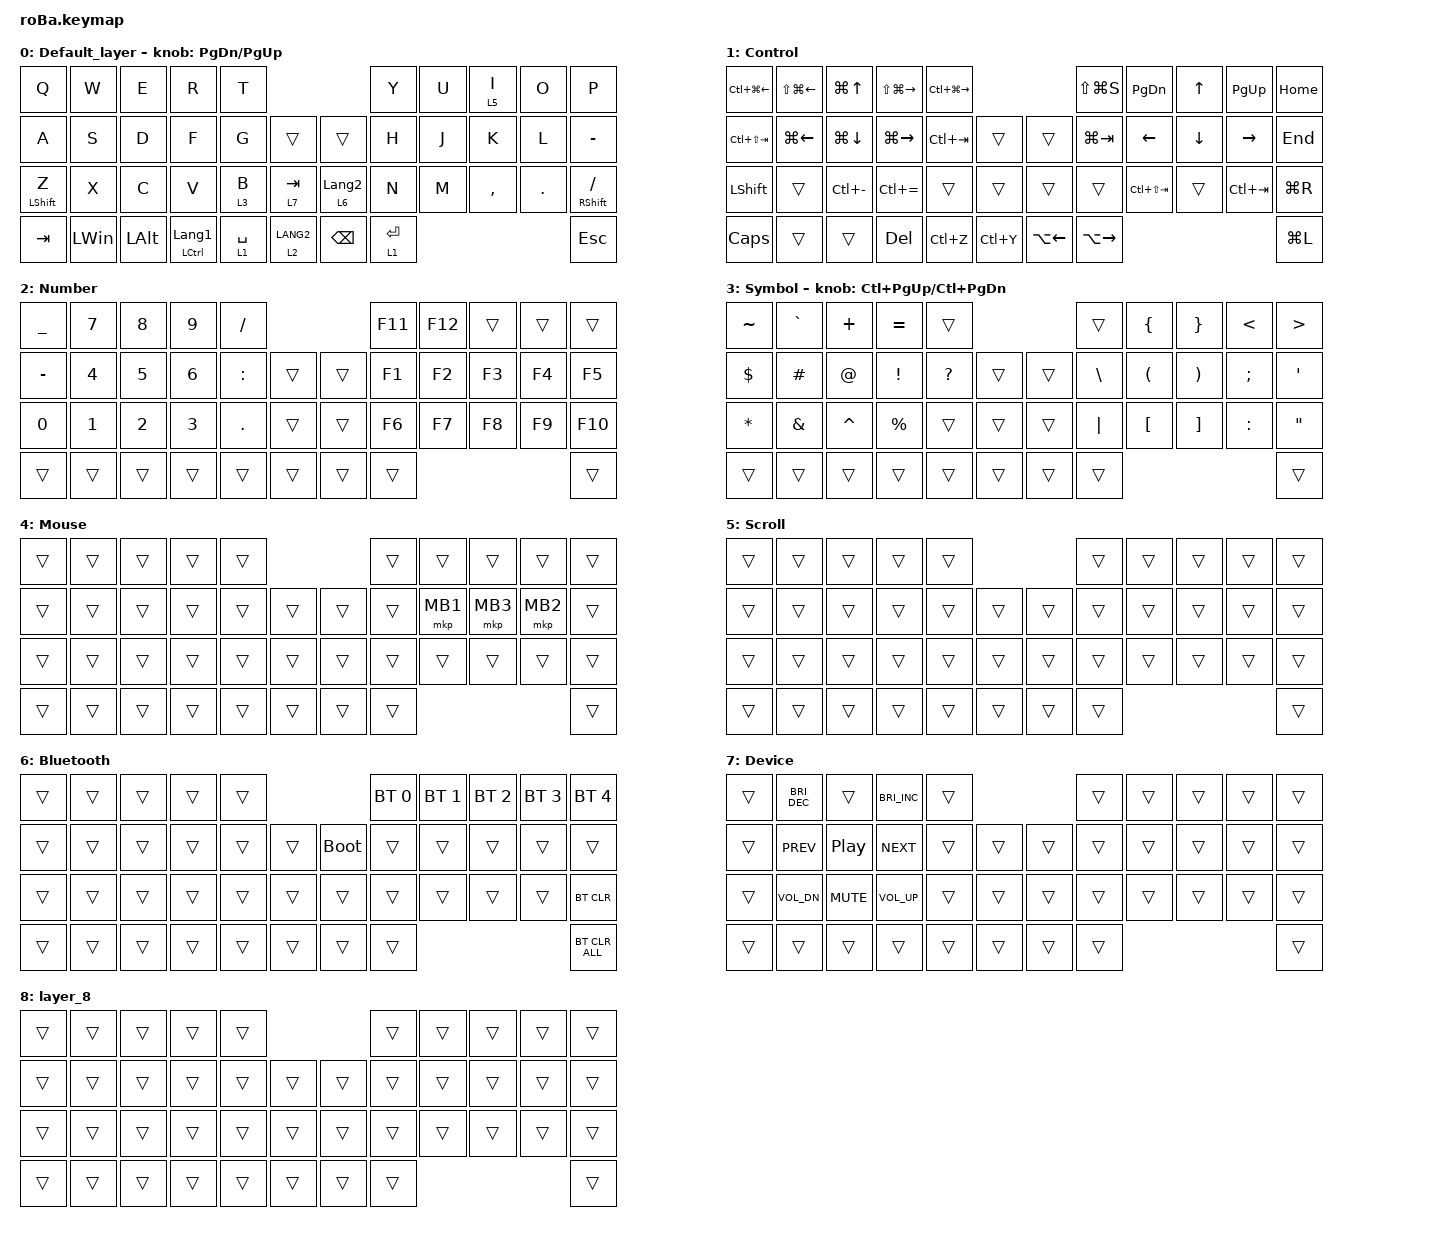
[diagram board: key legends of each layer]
#include <behaviors.dtsi>
#include <dt-bindings/zmk/bt.h>
#include <dt-bindings/zmk/keys.h>
#include <dt-bindings/zmk/pointing.h>

#define MOUSE 4
#define SCROLL 5
#define NUM 6

&mt {
    flavor = "balanced";
    quick-tap-ms = <0>;
};

/ {
    combos {
        compatible = "zmk,combos";

        tab {
            bindings = <&kp TAB>;
            key-positions = <11 12>;
        };

        shift_tab {
            bindings = <&kp LS(TAB)>;
            key-positions = <12 13>;
        };

        muhennkann {
            bindings = <&to_layer_0 INT_MUHENKAN>;
            key-positions = <11 10>;
        };

        double_quotation {
            bindings = <&kp DOUBLE_QUOTES>;
            key-positions = <20 21>;
        };

        eq {
            bindings = <&kp EQUAL>;
            key-positions = <24 25>;
        };
    };

    macros {
        to_layer_0: to_layer_0 {
            compatible = "zmk,behavior-macro-one-param";
            #binding-cells = <1>;
            bindings = <&to 0 &macro_param_1to1 &kp MACRO_PLACEHOLDER>;
            label = "TO_LAYER_0";
        };
    };

    behaviors {
        lt_to_layer_0: lt_to_layer_0 {
            compatible = "zmk,behavior-hold-tap";
            label = "LAYER_TAP_TO_0";
            bindings = <&mo>, <&to_layer_0>;

            #binding-cells = <2>;
            tapping-term-ms = <200>;
        };
    };

    keymap {
        compatible = "zmk,keymap";

        Default_layer {
            bindings = <
&kp Q             &kp W         &kp E         &kp R                 &kp T                                                                 &kp Y                   &kp U  &lt 5 I    &kp O    &kp P
&kp A             &kp S         &kp D         &kp F                 &kp G                   &trans                      &trans            &kp H                   &kp J  &kp K      &kp L    &kp MINUS
&mt LEFT_SHIFT Z  &kp X         &kp C         &kp V                 &lt 3 B                 &lt 7 TAB                   &lt 6 LANGUAGE_2  &kp N                   &kp M  &kp COMMA  &kp DOT  &mt RIGHT_SHIFT SLASH
&kp TAB           &kp LEFT_WIN  &kp LEFT_ALT  &mt LCTRL LANGUAGE_1  &lt_to_layer_0 1 SPACE  &lt_to_layer_0 2 LANG2      &kp BACKSPACE     &lt_to_layer_0 1 ENTER                             &kp ESCAPE
            >;

            sensor-bindings = <&inc_dec_kp PAGE_DOWN PG_UP>;
        };

        Control {
            bindings = <
&kp LC(LG(LEFT_ARROW))  &kp LS(LG(LEFT_ARROW))  &kp LG(UP_ARROW)    &kp LS(LG(RIGHT_ARROW))  &kp LC(LG(RIGHT_ARROW))                                     &kp LS(LG(S))        &kp PAGE_DOWN    &kp UP_ARROW    &kp PAGE_UP      &kp HOME
&kp LC(LS(TAB))         &kp LG(LEFT_ARROW)      &kp LG(DOWN_ARROW)  &kp LG(RIGHT_ARROW)      &kp LC(TAB)              &trans         &trans              &kp LG(TAB)          &kp LEFT_ARROW   &kp DOWN_ARROW  &kp RIGHT_ARROW  &kp END
&kp LEFT_SHIFT          &trans                  &kp LC(MINUS)       &kp LC(EQUAL)            &trans                   &trans         &trans              &trans               &kp LC(LS(TAB))  &trans          &kp LC(TAB)      &kp LG(R)
&kp CAPSLOCK            &trans                  &trans              &kp DELETE               &kp LC(Z)                &kp LC(Y)      &kp LA(LEFT_ARROW)  &kp LA(RIGHT_ARROW)                                                    &kp LG(L)
            >;
        };

        Number {
            bindings = <
&kp UNDERSCORE  &kp NUMBER_7  &kp NUMBER_8  &kp NUMBER_9  &kp SLASH                       &kp F11  &kp F12  &trans  &trans  &trans
&kp MINUS       &kp NUMBER_4  &kp NUMBER_5  &kp NUMBER_6  &kp COLON   &trans      &trans  &kp F1   &kp F2   &kp F3  &kp F4  &kp F5
&kp NUMBER_0    &kp NUMBER_1  &kp NUMBER_2  &kp NUMBER_3  &kp PERIOD  &trans      &trans  &kp F6   &kp F7   &kp F8  &kp F9  &kp F10
&trans          &trans        &trans        &trans        &trans      &trans      &trans  &trans                            &trans
            >;
        };

        Symbol {
            bindings = <
&kp TILDE     &kp GRAVE      &kp PLUS     &kp EQUAL        &trans                            &trans         &kp LEFT_BRACE        &kp RIGHT_BRACE        &kp LESS_THAN  &kp GREATER_THAN
&kp DOLLAR    &kp HASH       &kp AT_SIGN  &kp EXCLAMATION  &kp QUESTION  &trans      &trans  &kp BACKSLASH  &kp LEFT_PARENTHESIS  &kp RIGHT_PARENTHESIS  &kp SEMICOLON  &kp SINGLE_QUOTE
&kp ASTERISK  &kp AMPERSAND  &kp CARET    &kp PERCENT      &trans        &trans      &trans  &kp PIPE       &kp LEFT_BRACKET      &kp RIGHT_BRACKET      &kp COLON      &kp DOUBLE_QUOTES
&trans        &trans         &trans       &trans           &trans        &trans      &trans  &trans                                                                     &trans
            >;

            sensor-bindings = <&inc_dec_kp LC(PAGE_UP) LC(PAGE_DOWN)>;
        };

        Mouse {
            bindings = <
&trans  &trans  &trans  &trans  &trans                      &trans  &trans    &trans    &trans    &trans
&trans  &trans  &trans  &trans  &trans  &trans      &trans  &trans  &mkp MB1  &mkp MB3  &mkp MB2  &trans
&trans  &trans  &trans  &trans  &trans  &trans      &trans  &trans  &trans    &trans    &trans    &trans
&trans  &trans  &trans  &trans  &trans  &trans      &trans  &trans                                &trans
            >;
        };

        Scroll {
            bindings = <
&trans  &trans  &trans  &trans  &trans                      &trans  &trans  &trans  &trans  &trans
&trans  &trans  &trans  &trans  &trans  &trans      &trans  &trans  &trans  &trans  &trans  &trans
&trans  &trans  &trans  &trans  &trans  &trans      &trans  &trans  &trans  &trans  &trans  &trans
&trans  &trans  &trans  &trans  &trans  &trans      &trans  &trans                          &trans
            >;
        };

        Bluetooth {
            bindings = <
&trans  &trans  &trans  &trans  &trans                           &bt BT_SEL 0  &bt BT_SEL 1  &bt BT_SEL 2  &bt BT_SEL 3  &bt BT_SEL 4
&trans  &trans  &trans  &trans  &trans  &trans      &bootloader  &trans        &trans        &trans        &trans        &trans
&trans  &trans  &trans  &trans  &trans  &trans      &trans       &trans        &trans        &trans        &trans        &bt BT_CLR
&trans  &trans  &trans  &trans  &trans  &trans      &trans       &trans                                                  &bt BT_CLR_ALL
            >;
        };

        Device {
            bindings = <
&trans  &kp C_BRIGHTNESS_DEC  &trans            &kp C_BRIGHTNESS_INC  &trans                      &trans  &trans  &trans  &trans  &trans
&trans  &kp C_PREV            &kp C_PLAY_PAUSE  &kp C_NEXT            &trans  &trans      &trans  &trans  &trans  &trans  &trans  &trans
&trans  &kp C_VOL_DN          &kp C_MUTE        &kp C_VOLUME_UP       &trans  &trans      &trans  &trans  &trans  &trans  &trans  &trans
&trans  &trans                &trans            &trans                &trans  &trans      &trans  &trans                          &trans
            >;
        };

        layer_8 {
            bindings = <
&trans  &trans  &trans  &trans  &trans                      &trans  &trans  &trans  &trans  &trans
&trans  &trans  &trans  &trans  &trans  &trans      &trans  &trans  &trans  &trans  &trans  &trans
&trans  &trans  &trans  &trans  &trans  &trans      &trans  &trans  &trans  &trans  &trans  &trans
&trans  &trans  &trans  &trans  &trans  &trans      &trans  &trans                          &trans
            >;
        };
    };
};
